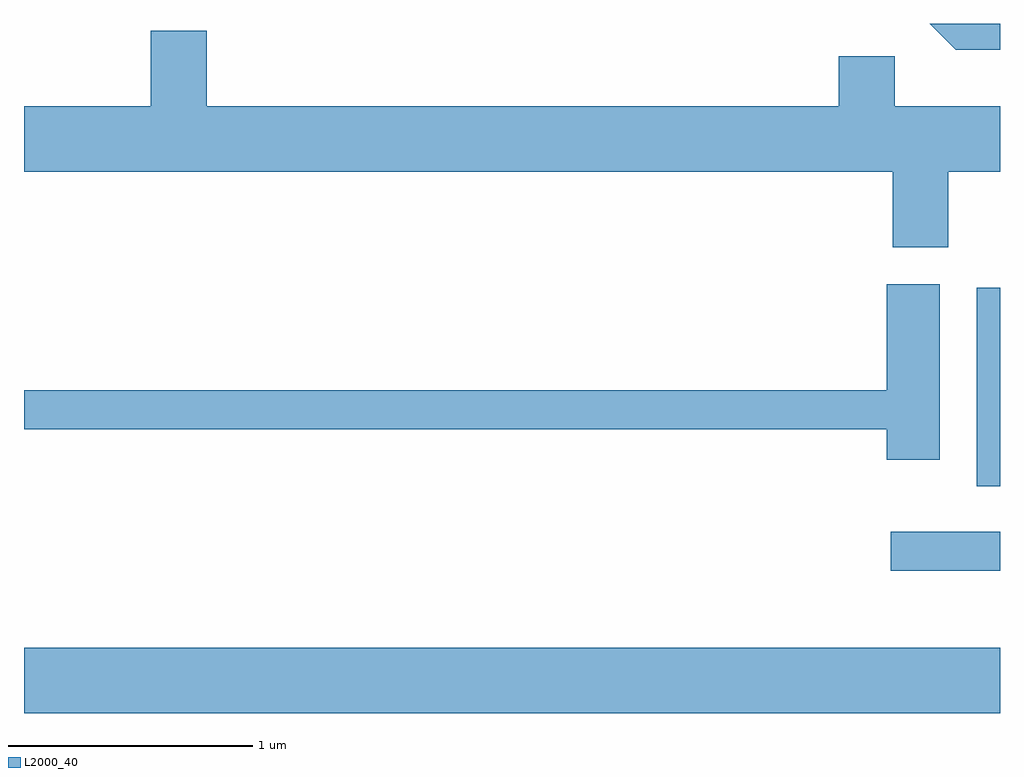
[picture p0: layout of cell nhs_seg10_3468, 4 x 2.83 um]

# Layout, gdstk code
import gdstk
lib = gdstk.Library(unit=1e-6, precision=1e-09)
def R(c, l, rs):  # rectangles x0, y0, x1, y1
    for r in rs: c.add(gdstk.rectangle(r[:2], r[2:], *l))
def P(c, l, *ps):  # polygons
    for p in ps: c.add(gdstk.Polygon(p, *l))
L2000_40 = (2000, 40)

nhs_seg10_3468 = lib.new_cell('nhs_seg10_3468')
R(nhs_seg10_3468, L2000_40, [(287.611,2111.696,291.611,2111.964), (291.163,2112.281,291.611,2112.439), (291.516,2112.626,291.611,2113.439)])
P(nhs_seg10_3468, L2000_40, [(291.611,2114.522),(291.323,2114.522),(291.429,2114.416),(291.611,2114.416)],
  [(291.399,2113.916),(291.611,2113.916),(291.611,2114.184),(291.179,2114.184),(291.179,2114.389),(290.951,2114.389),(290.951,2114.184),(288.359,2114.184),(288.359,2114.494),(288.131,2114.494),(288.131,2114.184),(287.611,2114.184),(287.611,2113.916),(291.171,2113.916),(291.171,2113.606),(291.399,2113.606)],
  [(291.364,2113.454),(291.146,2113.454),(291.146,2113.019),(287.611,2113.019),(287.611,2112.861),(291.146,2112.861),(291.146,2112.736),(291.364,2112.736)])

lib.write_gds('nhs_seg10_3468.gds')
